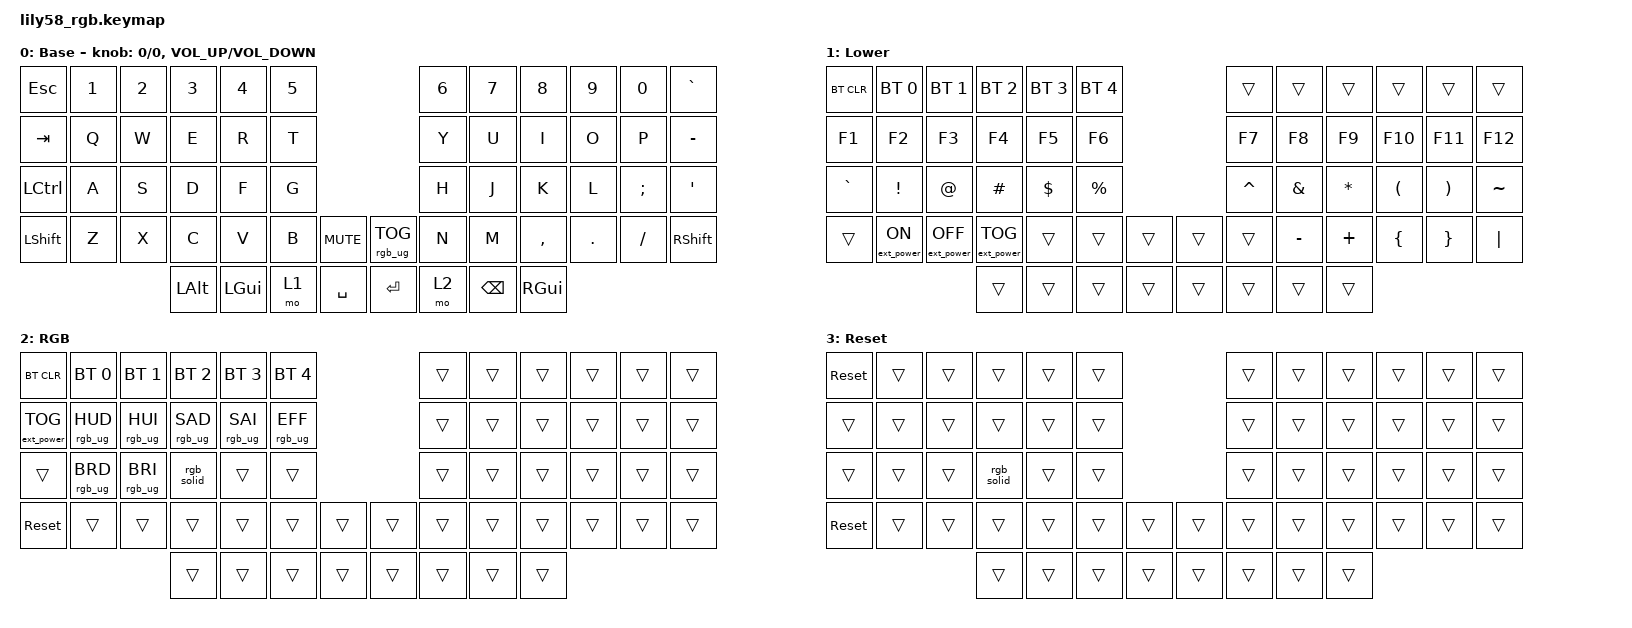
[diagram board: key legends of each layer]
/*
 * Copyright (c) 2020 The ZMK Contributors
 *
 * SPDX-License-Identifier: MIT
 */

#include <behaviors.dtsi>
#include <dt-bindings/zmk/bt.h>
#include <dt-bindings/zmk/ext_power.h>
#include <dt-bindings/zmk/keys.h>
#include <dt-bindings/zmk/rgb.h>

/ {
    // Activate ADJUST layer by pressing raise and lower

    conditional_layers {
        compatible = "zmk,conditional-layers";

        adjust_layer {
            if-layers = <1 2>;
            then-layer = <3>;
        };
    };

    macros {
        /* Solid/static + sat 0. RGB_COLOR_HSB alone does not change effect, so
         * spectrum/swirl still rainbows when you pick white. RGB_EFS 0 = solid. */

        rgb_solid: rgb_solid {
            compatible = "zmk,behavior-macro";
            #binding-cells = <0>;
            wait-ms = <0>;
            tap-ms = <0>;
            bindings =
                <&macro_tap>,
                <&rgb_ug RGB_COLOR_HSB(0,0,40)>,
                <&macro_tap>,
                <&rgb_ug RGB_EFS_CMD 0>;
        };
    };

    keymap {
        compatible = "zmk,keymap";

        default_layer {
            display-name = "Base";

            // ------------------------------------------------------------------------------------------------------------
            // |  ESC  |  1  |  2  |  3   |  4   |  5   |                   |  6   |  7    |  8    |  9   |   0   |   `   |
            // |  TAB  |  Q  |  W  |  E   |  R   |  T   |                   |  Y   |  U    |  I    |  O   |   P   |   -   |
            // |  CTRL |  A  |  S  |  D   |  F   |  G   |                   |  H   |  J    |  K    |  L   |   ;   |   '   |
            // | SHIFT |  Z  |  X  |  C   |  V   |  B   |  MUTE  |  |RGB_TOG|  N   |  M    |  ,    |  .   |   /   | SHIFT |
            //                     | ALT  | GUI  | LOWER|  SPACE |  | ENTER | RAISE| BSPC  | GUI   |

            bindings = <
&kp ESC    &kp N1  &kp N2  &kp N3    &kp N4    &kp N5                                 &kp N6  &kp N7    &kp N8     &kp N9   &kp N0    &kp GRAVE
&kp TAB    &kp Q   &kp W   &kp E     &kp R     &kp T                                  &kp Y   &kp U     &kp I      &kp O    &kp P     &kp MINUS
&kp LCTRL  &kp A   &kp S   &kp D     &kp F     &kp G                                  &kp H   &kp J     &kp K      &kp L    &kp SEMI  &kp SQT
&kp LSHFT  &kp Z   &kp X   &kp C     &kp V     &kp B   &kp C_MUTE    &rgb_ug RGB_TOG  &kp N   &kp M     &kp COMMA  &kp DOT  &kp FSLH  &kp RSHFT
                           &kp LALT  &kp LGUI  &mo 1   &kp SPACE     &kp RET          &mo 2   &kp BSPC  &kp RGUI
            >;

            sensor-bindings =
                <&inc_dec_kp 0 0>,
                <&inc_dec_kp C_VOLUME_UP C_VOLUME_DOWN>;
        };

        lower_layer {
            display-name = "Lower";

            // ------------------------------------------------------------------------------------------------------------
            // | BTCLR | BT1 | BT2 |  BT3 |  BT4 |  BT5 |                   |      |       |       |      |       |       |
            // |  F1   |  F2 |  F3 |  F4  |  F5  |  F6  |                   |  F7  |  F8   |  F9   |  F10 |  F11  |  F12  |
            // |   `   |  !  |  @  |  #   |  $   |  %   |                   |  ^   |  &    |  *    |  (   |   )   |   ~   |
            // |EXTPWR |     |     |      |      |      |        |  |       |      |  _    |  +    |  {   |   }   |  "|"  |
            //                     |      |      |      |        |  |       |      |       |       |

            bindings = <
&bt BT_CLR  &bt BT_SEL 0      &bt BT_SEL 1       &bt BT_SEL 2       &bt BT_SEL 3  &bt BT_SEL 4                    &trans     &trans     &trans     &trans    &trans    &trans
&kp F1      &kp F2            &kp F3             &kp F4             &kp F5        &kp F6                          &kp F7     &kp F8     &kp F9     &kp F10   &kp F11   &kp F12
&kp GRAVE   &kp EXCL          &kp AT             &kp HASH           &kp DOLLAR    &kp PRCNT                       &kp CARET  &kp AMPS   &kp ASTRK  &kp LPAR  &kp RPAR  &kp TILDE
&trans      &ext_power EP_ON  &ext_power EP_OFF  &ext_power EP_TOG  &trans        &trans        &trans    &trans  &trans     &kp MINUS  &kp PLUS   &kp LBRC  &kp RBRC  &kp PIPE
                                                 &trans             &trans        &trans        &trans    &trans  &trans     &trans     &trans
            >;
        };

        adjust_layer {
            display-name = "RGB";

            // ----------------------------------------------------------------------------------------------------------------------------
            // | BTCLR  |  BT1    |  BT2    |   BT3   |   BT4   |   BT5   |                  |      |      |       |      |       |       |
            // | EXTPWR | RGB_HUD | RGB_HUI | RGB_SAD | RGB_SAI | RGB_EFF |                  |      |      |       |      |       |       |
            // |        | RGB_BRD | RGB_BRI | SOLID  |         |         |                  |      |      |       |      |       |       |
            // |SYS_RST |         |         |         |         |         |        | |      |      |      |       |      |       |       |
            //                    |         |         |         |         |         | |      |      |      |       |      |

            bindings = <
&bt BT_CLR         &bt BT_SEL 0     &bt BT_SEL 1     &bt BT_SEL 2     &bt BT_SEL 3     &bt BT_SEL 4                       &trans  &trans  &trans  &trans  &trans  &trans
&ext_power EP_TOG  &rgb_ug RGB_HUD  &rgb_ug RGB_HUI  &rgb_ug RGB_SAD  &rgb_ug RGB_SAI  &rgb_ug RGB_EFF                    &trans  &trans  &trans  &trans  &trans  &trans
&trans             &rgb_ug RGB_BRD  &rgb_ug RGB_BRI  &rgb_solid       &trans           &trans                             &trans  &trans  &trans  &trans  &trans  &trans
&sys_reset         &trans           &trans           &trans           &trans           &trans           &trans    &trans  &trans  &trans  &trans  &trans  &trans  &trans
                                                     &trans           &trans           &trans           &trans    &trans  &trans  &trans  &trans
            >;
        };

        /* LOWER+RAISE together. sys_reset reboots; boot hook then writes solid
         * RGB over EEPROM. Full settings wipe is still settings_reset UF2. */

        extra1 {
            display-name = "Reset";
            bindings = <
&sys_reset  &trans  &trans  &trans      &trans  &trans                    &trans  &trans  &trans  &trans  &trans  &trans
&trans      &trans  &trans  &trans      &trans  &trans                    &trans  &trans  &trans  &trans  &trans  &trans
&trans      &trans  &trans  &rgb_solid  &trans  &trans                    &trans  &trans  &trans  &trans  &trans  &trans
&sys_reset  &trans  &trans  &trans      &trans  &trans  &trans    &trans  &trans  &trans  &trans  &trans  &trans  &trans
                            &trans      &trans  &trans  &trans    &trans  &trans  &trans  &trans
            >;
        };

        extra2 { status = "reserved"; };

        extra3 { status = "reserved"; };

        extra4 { status = "reserved"; };

        extra5 { status = "reserved"; };
    };
};
